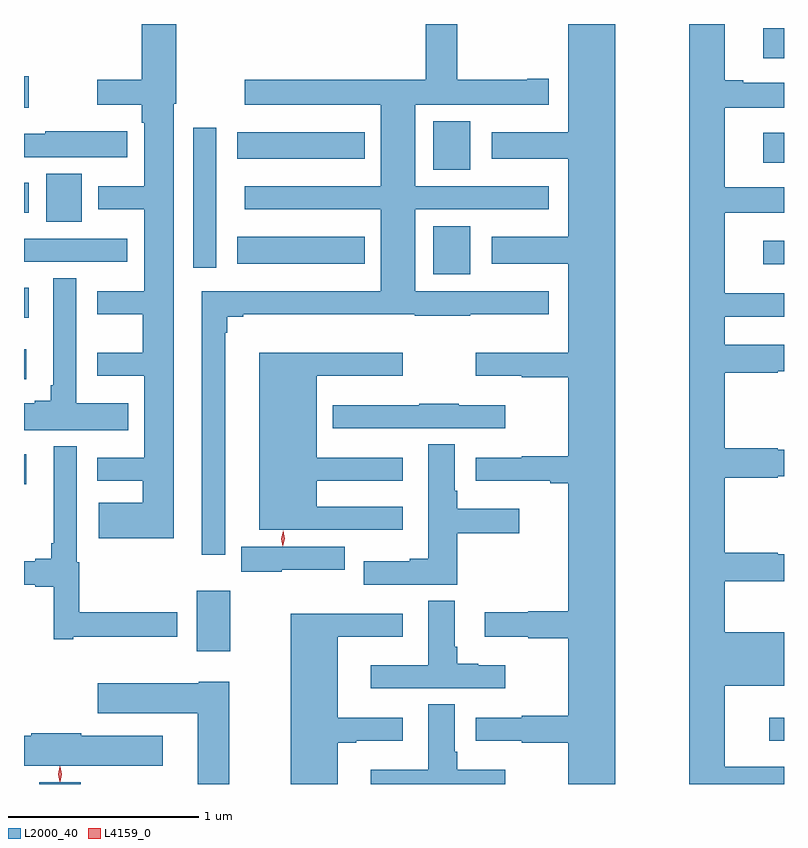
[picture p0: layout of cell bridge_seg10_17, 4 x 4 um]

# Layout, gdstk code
import gdstk
lib = gdstk.Library(unit=1e-6, precision=1e-09)
def R(c, l, rs):  # rectangles x0, y0, x1, y1
    for r in rs: c.add(gdstk.rectangle(r[:2], r[2:], *l))
def P(c, l, *ps):  # polygons
    for p in ps: c.add(gdstk.Polygon(p, *l))
L2000_40 = (2000, 40)
L4159_0 = (4159, 0)

bridge_seg10_17 = lib.new_cell('bridge_seg10_17')
R(bridge_seg10_17, L2000_40, [(1051.262,1326.626,1051.48,1326.634), (1055.103,1326.854,1055.181,1326.976), (1052.09,1327.325,1052.266,1327.642), (1051.181,1328.204,1051.192,1328.362), (1051.181,1328.756,1051.192,1328.914), (1051.181,1329.08,1051.207,1329.238), (1053.335,1329.308,1053.529,1329.562), (1052.072,1329.342,1052.194,1330.081), (1055.073,1329.362,1055.181,1329.484), (1052.304,1329.365,1052.974,1329.505), (1051.181,1329.374,1051.725,1329.496), (1051.298,1329.584,1051.486,1329.838), (1051.181,1329.632,1051.207,1329.79), (1053.335,1329.86,1053.529,1330.114), (1055.073,1329.896,1055.181,1330.054), (1052.304,1329.917,1052.974,1330.057), (1051.181,1330.184,1051.207,1330.35), (1055.073,1330.445,1055.181,1330.603)])
P(bridge_seg10_17, L2000_40, [(1051.969,1330.206),(1051.982,1330.206),(1051.982,1330.626),(1051.802,1330.626),(1051.802,1330.332),(1051.566,1330.332),(1051.566,1330.202),(1051.802,1330.202),(1051.802,1330.106),(1051.814,1330.106),(1051.814,1329.772),(1051.571,1329.772),(1051.571,1329.65),(1051.814,1329.65),(1051.814,1329.22),(1051.566,1329.22),(1051.566,1329.098),(1051.807,1329.098),(1051.807,1328.896),(1051.566,1328.896),(1051.566,1328.774),(1051.814,1328.774),(1051.814,1328.344),(1051.566,1328.344),(1051.566,1328.222),(1051.807,1328.222),(1051.807,1328.107),(1051.574,1328.107),(1051.574,1327.919),(1051.969,1327.919)],
  [(1052.239,1329.002),(1052.252,1329.002),(1052.252,1329.086),(1052.335,1329.086),(1052.335,1329.098),(1053.237,1329.098),(1053.237,1329.091),(1053.53,1329.091),(1053.53,1329.098),(1053.943,1329.098),(1053.943,1329.22),(1053.241,1329.22),(1053.241,1329.65),(1053.943,1329.65),(1053.943,1329.772),(1053.241,1329.772),(1053.241,1330.202),(1053.943,1330.202),(1053.943,1330.337),(1053.83,1330.337),(1053.83,1330.332),(1053.461,1330.332),(1053.461,1330.626),(1053.296,1330.626),(1053.296,1330.332),(1052.343,1330.332),(1052.343,1330.202),(1053.059,1330.202),(1053.059,1329.772),(1052.343,1329.772),(1052.343,1329.65),(1053.059,1329.65),(1053.059,1329.22),(1052.117,1329.22),(1052.117,1327.833),(1052.239,1327.833)],
  [(1054.294,1330.626),(1054.046,1330.626),(1054.046,1330.057),(1053.642,1330.057),(1053.642,1329.917),(1054.046,1329.917),(1054.046,1329.505),(1053.642,1329.505),(1053.642,1329.365),(1054.046,1329.365),(1054.046,1328.896),(1053.558,1328.896),(1053.558,1328.774),(1053.802,1328.774),(1053.802,1328.767),(1054.046,1328.767),(1054.046,1328.352),(1053.802,1328.352),(1053.802,1328.344),(1053.558,1328.344),(1053.558,1328.222),(1053.95,1328.222),(1053.95,1328.21),(1054.046,1328.21),(1054.046,1327.535),(1053.834,1327.535),(1053.834,1327.53),(1053.606,1327.53),(1053.606,1327.4),(1053.834,1327.4),(1053.834,1327.393),(1054.046,1327.393),(1054.046,1326.984),(1053.802,1326.984),(1053.802,1326.976),(1053.558,1326.976),(1053.558,1326.854),(1053.802,1326.854),(1053.802,1326.842),(1054.046,1326.842),(1054.046,1326.626),(1054.294,1326.626)],
  [(1055.181,1326.718),(1054.87,1326.718),(1054.87,1327.142),(1055.181,1327.142),(1055.181,1327.426),(1054.87,1327.426),(1054.87,1327.694),(1055.181,1327.694),(1055.181,1327.834),(1055.147,1327.834),(1055.147,1327.842),(1054.87,1327.842),(1054.87,1328.239),(1055.147,1328.239),(1055.147,1328.246),(1055.181,1328.246),(1055.181,1328.386),(1055.147,1328.386),(1055.147,1328.394),(1054.87,1328.394),(1054.87,1328.791),(1055.147,1328.791),(1055.147,1328.798),(1055.181,1328.798),(1055.181,1328.938),(1054.87,1328.938),(1054.87,1329.086),(1055.181,1329.086),(1055.181,1329.208),(1054.87,1329.208),(1054.87,1329.632),(1055.181,1329.632),(1055.181,1329.766),(1054.87,1329.766),(1054.87,1330.184),(1055.181,1330.184),(1055.181,1330.318),(1054.966,1330.318),(1054.966,1330.331),(1054.87,1330.331),(1054.87,1330.626),(1054.682,1330.626),(1054.682,1326.626),(1055.181,1326.626)],
  [(1051.725,1330.061),(1051.294,1330.061),(1051.294,1330.048),(1051.181,1330.048),(1051.181,1329.926),(1051.725,1329.926)],
  [(1051.729,1328.629),(1051.456,1328.629),(1051.456,1329.289),(1051.334,1329.289),(1051.334,1328.725),(1051.322,1328.725),(1051.322,1328.642),(1051.238,1328.642),(1051.238,1328.629),(1051.181,1328.629),(1051.181,1328.489),(1051.729,1328.489)],
  [(1053.175,1328.086),(1052.722,1328.086),(1052.722,1328.222),(1053.175,1328.222),(1053.175,1328.344),(1052.722,1328.344),(1052.722,1328.774),(1053.175,1328.774),(1053.175,1328.896),(1052.42,1328.896),(1052.42,1327.964),(1053.175,1327.964)],
  [(1053.715,1328.62),(1053.47,1328.62),(1053.47,1328.628),(1053.262,1328.628),(1053.262,1328.62),(1052.807,1328.62),(1052.807,1328.498),(1053.715,1328.498)],
  [(1053.461,1327.945),(1053.787,1327.945),(1053.787,1328.074),(1053.461,1328.074),(1053.461,1328.17),(1053.448,1328.17),(1053.448,1328.413),(1053.308,1328.413),(1053.308,1327.811),(1053.212,1327.811),(1053.212,1327.798),(1052.97,1327.798),(1052.97,1327.676),(1053.461,1327.676)],
  [(1051.441,1327.4),(1051.987,1327.4),(1051.987,1327.53),(1051.472,1327.53),(1051.472,1327.794),(1051.459,1327.794),(1051.459,1328.404),(1051.337,1328.404),(1051.337,1327.894),(1051.325,1327.894),(1051.325,1327.811),(1051.241,1327.811),(1051.241,1327.798),(1051.181,1327.798),(1051.181,1327.676),(1051.241,1327.676),(1051.241,1327.664),(1051.337,1327.664),(1051.337,1327.388),(1051.441,1327.388)],
  [(1052.537,1327.754),(1052.869,1327.754),(1052.869,1327.876),(1052.325,1327.876),(1052.325,1327.742),(1052.537,1327.742)],
  [(1053.715,1327.252),(1053.573,1327.252),(1053.573,1327.26),(1053.461,1327.26),(1053.461,1327.348),(1053.448,1327.348),(1053.448,1327.591),(1053.308,1327.591),(1053.308,1327.252),(1053.006,1327.252),(1053.006,1327.13),(1053.715,1327.13)],
  [(1052.833,1326.842),(1052.929,1326.842),(1052.929,1326.854),(1053.175,1326.854),(1053.175,1326.976),(1052.833,1326.976),(1052.833,1327.4),(1053.175,1327.4),(1053.175,1327.522),(1052.585,1327.522),(1052.585,1326.626),(1052.833,1326.626)],
  [(1052.26,1327.165),(1052.1,1327.165),(1052.1,1327.156),(1051.569,1327.156),(1051.569,1326.998),(1052.096,1326.998),(1052.096,1326.626),(1052.26,1326.626)],
  [(1053.715,1326.7),(1053.461,1326.7),(1053.461,1326.796),(1053.448,1326.796),(1053.448,1327.045),(1053.308,1327.045),(1053.308,1326.7),(1053.006,1326.7),(1053.006,1326.626),(1053.715,1326.626)],
  [(1051.912,1326.88),(1051.481,1326.88),(1051.481,1326.893),(1051.219,1326.893),(1051.219,1326.88),(1051.181,1326.88),(1051.181,1326.722),(1051.912,1326.722)])
P(bridge_seg10_17, L4159_0, [(1052.542,1327.877),(1052.534,1327.918),(1052.545,1327.959),(1052.545,1327.959),(1052.545,1327.959),(1052.554,1327.918),(1052.543,1327.877),(1052.543,1327.877)],
  [(1051.37,1326.637),(1051.37,1326.637),(1051.36,1326.678),(1051.37,1326.718),(1051.37,1326.719),(1051.371,1326.718),(1051.38,1326.678),(1051.371,1326.637)])

lib.write_gds('bridge_seg10_17.gds')
